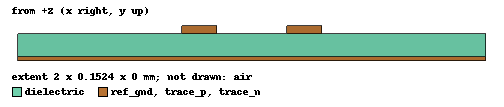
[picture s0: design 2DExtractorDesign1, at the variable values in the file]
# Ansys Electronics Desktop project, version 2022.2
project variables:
  $plane_tickness = 0.018mm
  $plane_width = 2mm
  $dielectric_thickness = 0.0994mm
  $trace_width = 0.15mm
  $trace_thickness = 0.035mm
  $solder_thickness = 0.015mm
  $trace_separation = 0.3mm
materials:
  vacuum: permittivity=1
  copper: permeability=0.999991 conductivity=58000000
  FR4_epoxy: permittivity=4.4 dielectric_loss_tangent=0.02
  air: permittivity=1.0006 permeability=1.0000004
  SolderMask-dk38: permittivity=3.8 dielectric_loss_tangent=0.035

design 2DExtractorDesign1 (2D Extractor, Open, model units mm)
options: LumpedLength=1meter RiseTime=1ns DistribLengthUnits=meter Calculate_Lossy_Dielectrics
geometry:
  ref_gnd [copper] = rectangle(corner=(0mm, 0mm, 0mm), x_size=$plane_width, y_size=$plane_tickness)
  dielectric [FR4_epoxy] = rectangle(corner=(0mm, $plane_tickness, 0mm), x_size=$plane_width, y_size=$dielectric_thickness)
  trace_p [copper] = rectangle(corner=($plane_width/2-$trace_width-($trace_separation/2), $plane_tickness+$dielectric_thickness, 0mm), x_size=$trace_width, y_size=$trace_thickness)
  air [air] = rectangle(corner=(-0.5mm, -0.5mm, 0mm), x_size=3mm, y_size=1.5mm)
  trace_n [copper] = rectangle(corner=($plane_width/2+($trace_separation/2), $plane_tickness+$dielectric_thickness, 0mm), x_size=$trace_width, y_size=$trace_thickness)
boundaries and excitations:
  trace_p: SignalLine Objects=trace_p SolveOption=SolveInside Thickness=-1000mm
  ref_gnd: ReferenceGround Objects=ref_gnd SolveOption=SolveInside Thickness=-1000mm
  trace_n: SignalLine Objects=trace_n SolveOption=SolveInside Thickness=-1000mm
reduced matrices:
  DiffPairMatrix: Operations{op(DiffPair1, 0, "DiffPair(SelectionArray[2: 0, 2], OverrideInfo(0, 'Pair1'))")}
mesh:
  initial mesh: MeshMethod=AnsoftTAU
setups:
  Setup_1GHz: 2DMatrix AdaptiveFreq=1GHz SaveFields CGDataBlock{MaxPass=10 MinPass=1 MinConvPass=1 PerError=1 PerRefine=30 Included PerErrorParamConv=1} RLDataBlock{MaxPass=10 MinPass=1 MinConvPass=1 PerError=1 PerRefine=30 Included PerErrorParamConv=1}
    sweep Sweep_0to10GHz: 0Hz to 0Hz, 1 points; 1Hz to 1GHz, log, 10 per decade; 1GHz to 10GHz, log, 10 per decade; Type=Discrete
  Setup_10GHz: 2DMatrix AdaptiveFreq=10GHz SaveFields CGDataBlock{MaxPass=10 MinPass=1 MinConvPass=1 PerError=1 PerRefine=30 Included PerErrorParamConv=1} RLDataBlock{MaxPass=10 MinPass=1 MinConvPass=1 PerError=1 PerRefine=30 Included PerErrorParamConv=1}
  Setup_100MHz: 2DMatrix AdaptiveFreq=100MHz SaveFields CGDataBlock{MaxPass=10 MinPass=1 MinConvPass=1 PerError=1 PerRefine=30 Included PerErrorParamConv=1} RLDataBlock{MaxPass=10 MinPass=1 MinConvPass=1 PerError=1 PerRefine=30 Included PerErrorParamConv=1}
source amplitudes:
  trace_p: CG Fields 1V 0deg
  trace_n: CG Fields 1V 180deg
  trace_p: RL Fields 1A 0deg
  trace_n: RL Fields 1A 180deg
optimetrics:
  paraSweep_traceWidth: Parametric Sim._Setups=[Setup_10GHz, Setup_1GHz]
    sweep $trace_separation: LIN 0.15mm 0.45mm 0.15mm
    sweep $trace_width: LIN 0.1mm 0.2mm 0.05mm
    calculate mag(Z0(trace_p,trace_p)) on Setup_1GHz : LastAdaptive at Freq 1GHz
    calculate mag(Z0(Pair1:df,Pair1:df)) on Setup_1GHz : LastAdaptive at Freq 1GHz
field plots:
  Jrl: J over air, ref_gnd, dielectric, trace_p, trace_n on Setup_100MHz : LastAdaptive at Freq=0.1GHz Phase=0deg
  VectorH1: H over ref_gnd, dielectric, trace_p, air, trace_n on Setup_100MHz : LastAdaptive at Freq=0.1GHz Phase=0deg
  Mag_Phi1: Phi over ref_gnd, dielectric, trace_p, air, trace_n on Setup_100MHz : LastAdaptive at Freq=0.1GHz Phase=0deg
  Mag_E1, VectorE1: E over ref_gnd, dielectric, trace_p, air, trace_n on Setup_100MHz : LastAdaptive at Freq=100MHz Phase=0deg
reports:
  Modal Characteristic Impedance Plot 1: mag(Z0Modal(Mode1)), mag(Z0Modal(Mode2)) vs Freq on Setup_1GHz : Sweep_0to10GHz [$trace_width=0.1351mm]; markers MX1 at x=1e+09
  Characteristic Impedance Plot 1: mag(Z0(trace_n,trace_n)), mag(Z0(Pair1:cm,Pair1:cm)), mag(Z0(Pair1:df,Pair1:df)) vs Freq on Setup_1GHz : Sweep_0to10GHz [$trace_width=0.1351mm]; markers MX1 at x=1e+09
  EpsEff Plot 1: EpsEffModal(Mode1), EpsEffModal(Mode2) vs Freq on Setup_1GHz : Sweep_0to10GHz [$trace_width=0.1351mm]; markers MX1 at x=1e+09
  Velocity Plot 1: VelModal(Mode1), VelModal(Mode2) vs Freq on Setup_1GHz : Sweep_0to10GHz [$trace_width=0.1351mm]; markers MX1 at x=1e+09
  Characteristic Impedance Plot 2: mag(Z0Modal(Mode1)), mag(Z0(trace_p,trace_p)), mag(Z0(Pair1:cm,Pair1:cm)), mag(Z0(Pair1:df,Pair1:df)) vs Freq on Setup_1GHz : Sweep_0to10GHz [$trace_width=0.1mm $trace_separation=0.15mm]; markers MX1 at x=1e+09
  Attenuation Plot 1: -AttenModal(Mode1), -AttenModal(Mode2) vs Freq on Setup_1GHz : Sweep_0to10GHz [$trace_width=0.1mm $trace_separation=0.15mm]; markers MX1 at x=1e+09
